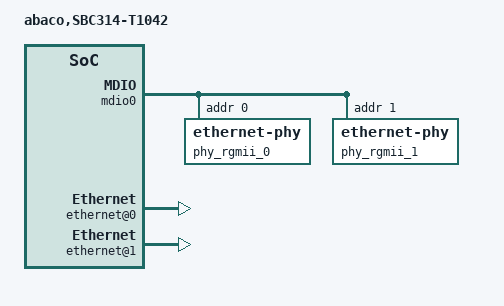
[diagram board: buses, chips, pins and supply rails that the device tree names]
/*
 * SBC314-T1042 Device Tree Source
 *
 * Adapted from t1042rdb devicetree sources
 *
 * Copyright 2014 Freescale Semiconductor Inc.
 * Copyright 2017 Abaco Systems Ltd.
 *
 * Redistribution and use in source and binary forms, with or without
 * modification, are permitted provided that the following conditions are met:
 *     * Redistributions of source code must retain the above copyright
 *	 notice, this list of conditions and the following disclaimer.
 *     * Redistributions in binary form must reproduce the above copyright
 *	 notice, this list of conditions and the following disclaimer in the
 *	 documentation and/or other materials provided with the distribution.
 *     * Neither the name of Freescale Semiconductor nor the
 *	 names of its contributors may be used to endorse or promote products
 *	 derived from this software without specific prior written permission.
 *
 *
 * ALTERNATIVELY, this software may be distributed under the terms of the
 * GNU General Public License ("GPL") as published by the Free Software
 * Foundation, either version 2 of that License or (at your option) any
 * later version.
 *
 * THIS SOFTWARE IS PROVIDED BY Freescale Semiconductor "AS IS" AND ANY
 * EXPRESS OR IMPLIED WARRANTIES, INCLUDING, BUT NOT LIMITED TO, THE IMPLIED
 * WARRANTIES OF MERCHANTABILITY AND FITNESS FOR A PARTICULAR PURPOSE ARE
 * DISCLAIMED. IN NO EVENT SHALL Freescale Semiconductor BE LIABLE FOR ANY
 * DIRECT, INDIRECT, INCIDENTAL, SPECIAL, EXEMPLARY, OR CONSEQUENTIAL DAMAGES
 * (INCLUDING, BUT NOT LIMITED TO, PROCUREMENT OF SUBSTITUTE GOODS OR SERVICES;
 * LOSS OF USE, DATA, OR PROFITS; OR BUSINESS INTERRUPTION) HOWEVER CAUSED AND
 * ON ANY THEORY OF LIABILITY, WHETHER IN CONTRACT, STRICT LIABILITY, OR TORT
 * (INCLUDING NEGLIGENCE OR OTHERWISE) ARISING IN ANY WAY OUT OF THE USE OF THIS
 * SOFTWARE, EVEN IF ADVISED OF THE POSSIBILITY OF SUCH DAMAGE.
 */

/include/ "sbc314-t104xsi-pre.dtsi"
/include/ "sbc314-tx.dtsi"
/include/ "sbc314-localbus-t1042.dtsi"

/ {
	model = "abaco,SBC314-T1042";
	compatible = "abaco,SBC314-T1042";
	aliases {
		phy_rgmii_0 = &phy_rgmii_0;
		phy_rgmii_1 = &phy_rgmii_1;
	};

	soc: soc@ffe000000 {
		fman0: fman@400000 {
			rcpm-wakeup = <&rcpm 0x00000008>;

			enet0: ethernet@e6000 {
				phy-handle = <&phy_rgmii_0>;
				phy-connection-type = "rgmii";
				rcpm-wakeup = <&rcpm 0x10000000>;
			};

			enet1: ethernet@e8000 {
				phy-handle = <&phy_rgmii_1>;
				phy-connection-type = "rgmii";
				rcpm-wakeup = <&rcpm 0x08000000>;
			};

			mdio0: mdio@fc000 {
				phy_rgmii_0: ethernet-phy@00 {
					reg = <0x00>;
				};
				phy_rgmii_1: ethernet-phy@01 {
					reg = <0x01>;
				};
			};
		};

	};

	fsl,dpaa {
		compatible = "fsl,t1040-dpaa", "fsl,dpaa";
		ethernet@0 {
			compatible = "fsl,t1040-dpa-ethernet",
					"fsl,dpa-ethernet";
			fsl,fman-mac = <&enet0>;
		};
		ethernet@1 {
			compatible = "fsl,t1040-dpa-ethernet",
					"fsl,dpa-ethernet";
			fsl,fman-mac = <&enet1>;
		};
	};

	pci0: pcie@ffe240000 {
		reg = <0xf 0xfe240000 0 0x10000>;
		ranges = <0x02000000 0 0xc0000000 0xc 0x00000000 0x0 0x40000000
			  0x01000000 0 0x00000000 0xf 0xf8000000 0x0 0x00010000>;
		pcie@0 {
			ranges = <0x02000000 0 0xc0000000
				  0x02000000 0 0xc0000000
				  0 0x40000000

				  0x01000000 0 0x00000000
				  0x01000000 0 0x00000000
				  0 0x00010000>;
		};
	};

	pci1: pcie@ffe250000 {
		reg = <0xf 0xfe250000 0 0x10000>;
		ranges = <0x02000000 0x0 0xc0000000 0xc 0x40000000 0x0 0x20000000
			  0x01000000 0x0 0x00000000 0xf 0xf8010000 0x0 0x00010000>;
		pcie@0 {
			ranges = <0x02000000 0 0xc0000000
				  0x02000000 0 0xc0000000
				  0 0x20000000

				  0x01000000 0 0x00000000
				  0x01000000 0 0x00000000
				  0 0x00010000>;
		};
	};

};

#include "sbc314-t1042si-post.dtsi"
/include/ "qoriq-dpaa-res3.dtsi"
